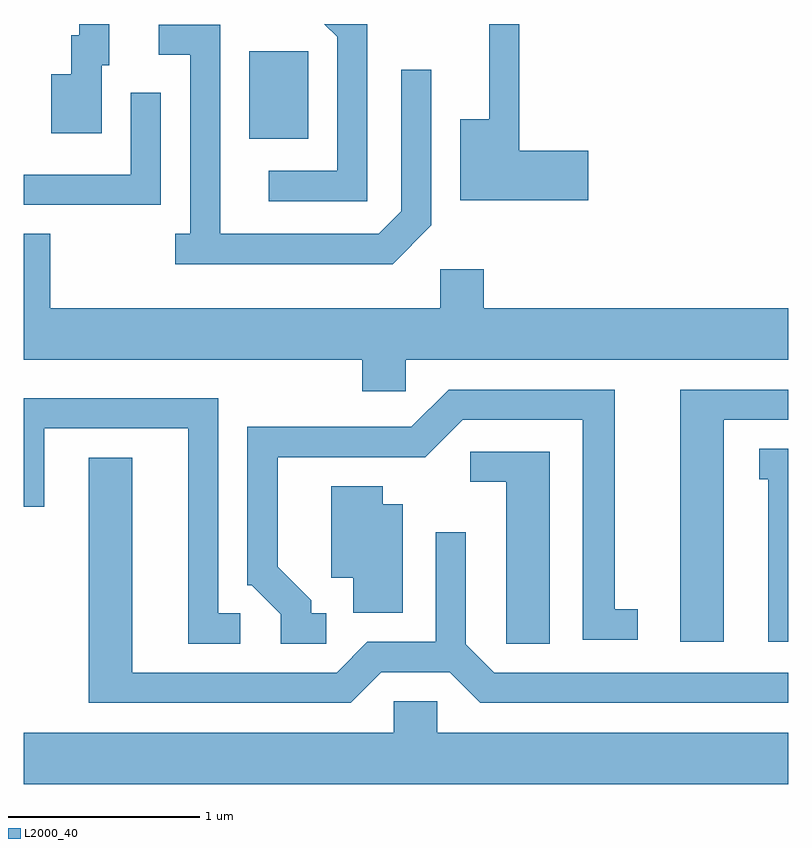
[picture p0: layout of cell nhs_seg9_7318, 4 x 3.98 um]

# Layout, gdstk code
import gdstk
lib = gdstk.Library(unit=1e-6, precision=1e-09)
def R(c, l, rs):  # rectangles x0, y0, x1, y1
    for r in rs: c.add(gdstk.rectangle(r[:2], r[2:], *l))
def P(c, l, *ps):  # polygons
    for p in ps: c.add(gdstk.Polygon(p, *l))
L2000_40 = (2000, 40)

nhs_seg9_7318 = lib.new_cell('nhs_seg9_7318')
R(nhs_seg9_7318, L2000_40, [(402.791,2021.831,403.099,2022.289)])
P(nhs_seg9_7318, L2000_40, [(404.564,2021.769),(404.204,2021.769),(404.204,2022.432),(404.046,2022.432),(404.046,2021.934),(403.896,2021.934),(403.896,2021.511),(404.564,2021.511)],
  [(403.409,2022.432),(403.183,2022.432),(403.251,2022.364),(403.251,2021.664),(402.893,2021.664),(402.893,2021.506),(403.409,2021.506)],
  [(402.019,2022.216),(402.059,2022.216),(402.059,2022.432),(401.901,2022.432),(401.901,2022.374),(401.861,2022.374),(401.861,2022.169),(401.756,2022.169),(401.756,2021.861),(402.019,2021.861)],
  [(403.744,2021.379),(403.744,2022.193),(403.586,2022.193),(403.586,2021.452),(403.469,2021.334),(402.639,2021.334),(402.639,2022.429),(402.318,2022.429),(402.318,2022.271),(402.481,2022.271),(402.481,2021.334),(402.403,2021.334),(402.403,2021.176),(403.542,2021.176)],
  [(402.329,2022.073),(402.171,2022.073),(402.171,2021.644),(401.611,2021.644),(401.611,2021.486),(402.329,2021.486)],
  [(403.609,2020.676),(405.611,2020.676),(405.611,2020.944),(404.019,2020.944),(404.019,2021.149),(403.791,2021.149),(403.791,2020.944),(401.749,2020.944),(401.749,2021.334),(401.611,2021.334),(401.611,2020.676),(403.381,2020.676),(403.381,2020.511),(403.609,2020.511)],
  [(403.193,2019.349),(403.114,2019.349),(403.114,2019.417),(402.939,2019.592),(402.939,2020.166),(403.712,2020.166),(403.907,2020.361),(404.536,2020.361),(404.536,2019.211),(404.823,2019.211),(404.823,2019.369),(404.704,2019.369),(404.704,2020.519),(403.834,2020.519),(403.639,2020.324),(402.781,2020.324),(402.781,2019.496),(402.804,2019.496),(402.956,2019.344),(402.956,2019.191),(403.193,2019.191)],
  [(405.274,2020.361),(405.611,2020.361),(405.611,2020.519),(405.046,2020.519),(405.046,2019.201),(405.274,2019.201)],
  [(402.743,2019.349),(402.629,2019.349),(402.629,2020.474),(401.611,2020.474),(401.611,2019.906),(401.719,2019.906),(401.719,2020.316),(402.471,2020.316),(402.471,2019.191),(402.743,2019.191)],
  [(405.611,2020.209),(405.458,2020.209),(405.458,2020.051),(405.506,2020.051),(405.506,2019.201),(405.611,2019.201)],
  [(404.364,2020.194),(403.948,2020.194),(403.948,2020.036),(404.136,2020.036),(404.136,2019.191),(404.364,2019.191)],
  [(403.482,2019.041),(403.839,2019.041),(403.999,2018.881),(405.611,2018.881),(405.611,2019.039),(404.072,2019.039),(403.924,2019.187),(403.924,2019.773),(403.766,2019.773),(403.766,2019.199),(403.409,2019.199),(403.249,2019.039),(402.179,2019.039),(402.179,2020.164),(401.951,2020.164),(401.951,2018.881),(403.322,2018.881)],
  [(403.594,2019.919),(403.489,2019.919),(403.489,2020.014),(403.221,2020.014),(403.221,2019.536),(403.336,2019.536),(403.336,2019.351),(403.594,2019.351)],
  [(405.611,2018.724),(403.774,2018.724),(403.774,2018.889),(403.546,2018.889),(403.546,2018.724),(401.611,2018.724),(401.611,2018.456),(405.611,2018.456)])

lib.write_gds('nhs_seg9_7318.gds')
